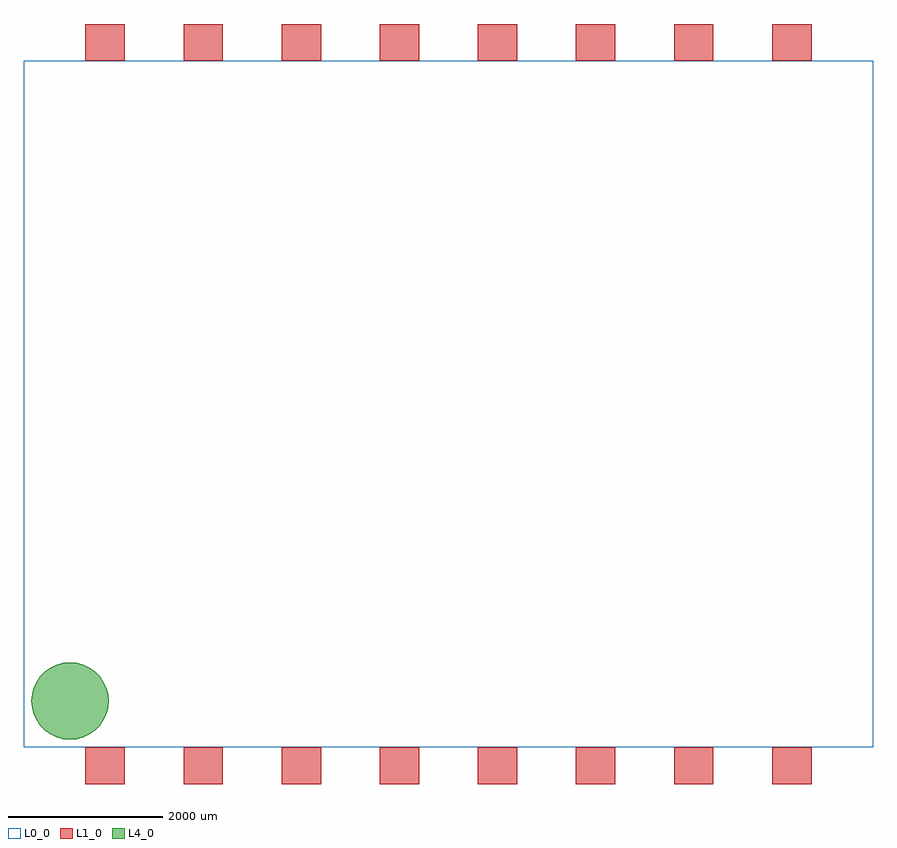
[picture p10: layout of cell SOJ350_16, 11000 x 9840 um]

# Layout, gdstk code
import gdstk
lib = gdstk.Library(unit=1e-6, precision=1e-09)
def R(c, l, rs):  # rectangles x0, y0, x1, y1
    for r in rs: c.add(gdstk.rectangle(r[:2], r[2:], *l))
def A(c, l, x, y, w, h, nx, ny, dx, dy):  # array of equal rectangles
    R(c, l, [(x+i*dx, y+j*dy, x+i*dx+w, y+j*dy+h) for i in range(nx) for j in range(ny)])
def P(c, l, *ps):  # polygons
    for p in ps: c.add(gdstk.Polygon(p, *l))
L0_0 = (0, 0)
L1_0 = (1, 0)
L4_0 = (4, 0)
L99_1 = (99, 1)
L99_2 = (99, 2)
L99_3 = (99, 3)
L99_4 = (99, 4)
L99_5 = (99, 5)
L99_6 = (99, 6)
L99_7 = (99, 7)
L99_8 = (99, 8)
L99_9 = (99, 9)
L99_10 = (99, 10)
L99_11 = (99, 11)
L99_12 = (99, 12)
L99_13 = (99, 13)
L99_14 = (99, 14)
L99_15 = (99, 15)
L99_16 = (99, 16)

soj350_16 = lib.new_cell('SOJ350_16')
R(soj350_16, L0_0, [(0,0,11000,8890)])
A(soj350_16, L1_0, 800, -475, 510, 475, 8, 2, 1270, 9365)
P(soj350_16, L4_0, [(1100,600),(1092.404,513.176),(1069.846,428.99),(1033.013,350),(983.022,278.606),(921.394,216.978),(850,166.987),(771.01,130.154),(686.824,107.596),(600,100),(513.176,107.596),(428.99,130.154),(350,166.987),(278.606,216.978),(216.978,278.606),(166.987,350),(130.154,428.99),(107.596,513.176),(100,600),(107.596,686.824),(130.154,771.01),(166.987,850),(216.978,921.394),(278.606,983.022),(350,1033.013),(428.99,1069.846),(513.176,1092.404),(600,1100),(686.824,1092.404),(771.01,1069.846),(850,1033.013),(921.394,983.022),(983.022,921.394),(1033.013,850),(1069.846,771.01),(1092.404,686.824)])
soj350_16.add(gdstk.FlexPath([(1310,0),(800,0)], 0, ends="round", simple_path=True, layer=99, datatype=1))  # L99_1
soj350_16.add(gdstk.FlexPath([(2580,0),(2070,0)], 0, ends="round", simple_path=True, layer=99, datatype=2))  # L99_2
soj350_16.add(gdstk.FlexPath([(3850,0),(3340,0)], 0, ends="round", simple_path=True, layer=99, datatype=3))  # L99_3
soj350_16.add(gdstk.FlexPath([(5120,0),(4610,0)], 0, ends="round", simple_path=True, layer=99, datatype=4))  # L99_4
soj350_16.add(gdstk.FlexPath([(6390,0),(5880,0)], 0, ends="round", simple_path=True, layer=99, datatype=5))  # L99_5
soj350_16.add(gdstk.FlexPath([(7660,0),(7150,0)], 0, ends="round", simple_path=True, layer=99, datatype=6))  # L99_6
soj350_16.add(gdstk.FlexPath([(8930,0),(8420,0)], 0, ends="round", simple_path=True, layer=99, datatype=7))  # L99_7
soj350_16.add(gdstk.FlexPath([(10200,0),(9690,0)], 0, ends="round", simple_path=True, layer=99, datatype=8))  # L99_8
soj350_16.add(gdstk.FlexPath([(800,8890),(1310,8890)], 0, ends="round", simple_path=True, layer=99, datatype=16))  # L99_16
soj350_16.add(gdstk.FlexPath([(2070,8890),(2580,8890)], 0, ends="round", simple_path=True, layer=99, datatype=15))  # L99_15
soj350_16.add(gdstk.FlexPath([(3340,8890),(3850,8890)], 0, ends="round", simple_path=True, layer=99, datatype=14))  # L99_14
soj350_16.add(gdstk.FlexPath([(4610,8890),(5120,8890)], 0, ends="round", simple_path=True, layer=99, datatype=13))  # L99_13
soj350_16.add(gdstk.FlexPath([(5880,8890),(6390,8890)], 0, ends="round", simple_path=True, layer=99, datatype=12))  # L99_12
soj350_16.add(gdstk.FlexPath([(7150,8890),(7660,8890)], 0, ends="round", simple_path=True, layer=99, datatype=11))  # L99_11
soj350_16.add(gdstk.FlexPath([(8420,8890),(8930,8890)], 0, ends="round", simple_path=True, layer=99, datatype=10))  # L99_10
soj350_16.add(gdstk.FlexPath([(9690,8890),(10200,8890)], 0, ends="round", simple_path=True, layer=99, datatype=9))  # L99_9

lib.write_gds('SOJ350_16.gds')
